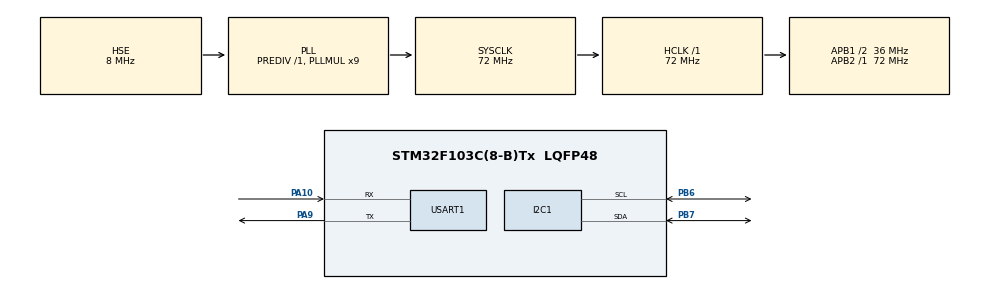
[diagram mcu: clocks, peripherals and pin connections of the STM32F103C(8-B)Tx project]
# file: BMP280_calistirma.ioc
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I2C1.NoStretchMode=I2C_NOSTRETCH_ENABLE
I2C1.OwnAddress=0x76
Mcu.Family=STM32F1
Mcu.Name=STM32F103C(8-B)Tx
Mcu.Package=LQFP48
NVIC.PriorityGroup=NVIC_PRIORITYGROUP_4
PA10.Mode=Asynchronous
PA10.Signal=USART1_RX
PA9.Mode=Asynchronous
PA9.Signal=USART1_TX
PB6.GPIO_Mode=GPIO_MODE_AF_OD
PB6.Mode=I2C
PB6.Signal=I2C1_SCL
PB7.Mode=I2C
PB7.Signal=I2C1_SDA
PD0-OSC_IN.Mode=HSE-External-Oscillator
PD0-OSC_IN.Signal=RCC_OSC_IN
PD1-OSC_OUT.Mode=HSE-External-Oscillator
PD1-OSC_OUT.Signal=RCC_OSC_OUT
ProjectManager.HeapSize=0x200
ProjectManager.StackSize=0x400
ProjectManager.TargetToolchain=STM32CubeIDE
RCC.AHBFreq_Value=72000000
RCC.APB1CLKDivider=RCC_HCLK_DIV2
RCC.APB1Freq_Value=36000000
RCC.APB1TimFreq_Value=72000000
RCC.APB2Freq_Value=72000000
RCC.APB2TimFreq_Value=72000000
RCC.HCLKFreq_Value=72000000
RCC.PLLMUL=RCC_PLL_MUL9
RCC.PLLSourceVirtual=RCC_PLLSOURCE_HSE
RCC.SYSCLKFreq_VALUE=72000000
RCC.SYSCLKSource=RCC_SYSCLKSOURCE_PLLCLK
RCC.USBFreq_Value=72000000
USART1.VirtualMode=VM_ASYNC
VP_SYS_VS_ND.Mode=No_Debug
board=custom

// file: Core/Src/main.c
/* USER CODE BEGIN Header */
/**
  ******************************************************************************
  * @file           : main.c
  * @brief          : Main program body
  ******************************************************************************
  * @attention
  *
  * Copyright (c) 2025 STMicroelectronics.
  * All rights reserved.
  *
  * This software is licensed under terms that can be found in the LICENSE file
  * in the root directory of this software component.
  * If no LICENSE file comes with this software, it is provided AS-IS.
  *
  ******************************************************************************
  */
/* USER CODE END Header */
#include "main.h"
#include "stm32f1xx_hal.h"
#include <stdint.h>
#include <math.h>
#include <stdio.h>
#include "bmp280.h"

/* USER CODE BEGIN PD */
#define BMP280_ADDR (0x76 << 1)  // BMP280 I2C adresi (SDO pini GND'ye bağlıysa)
#define BMP280_PRESS_MSB 0xF7   // Basınç verisi başlangıç adresi
/* USER CODE END PD */

I2C_HandleTypeDef hi2c1;
UART_HandleTypeDef huart1;

void SystemClock_Config(void);
static void MX_GPIO_Init(void);
static void MX_I2C1_Init(void);
static void MX_USART1_UART_Init(void);
/* USER CODE BEGIN PFP */
static void MX_GPIO_Init(void);
static void MX_I2C1_Init(void);
static void MX_USART1_UART_Init(void);

uint32_t BMP280_Read_Pressure();
float KalmanFilter(float measurement);
void Send_Pressure_UART(float pressure);

/* USER CODE END PFP */

/* USER CODE BEGIN 0 */

// Kalman filtre değişkenleri
float Q = 0.1;  // Proses gürültüsü kovaryansı
float R = 1.0;  // Ölçüm gürültüsü kovaryansı
float P = 1.0;  // Hata kovaryansı
float K = 0.0;  // Kalman kazancı
float X = 0.0;  // Tahmini değer

/* USER CODE END 0 */

int main(void)
{

  /* MCU Configuration--------------------------------------------------------*/

  /* Reset of all peripherals, Initializes the Flash interface and the Systick. */
  HAL_Init();

  /* Configure the system clock */
  SystemClock_Config();

  /* USER CODE BEGIN SysInit */
      MX_GPIO_Init();
      MX_I2C1_Init();
      MX_USART1_UART_Init();
  /* USER CODE END SysInit */

  /* Initialize all configured peripherals */
  MX_GPIO_Init();
  MX_I2C1_Init();
  MX_USART1_UART_Init();

  /* Infinite loop */
  /* USER CODE BEGIN WHILE */
  while (1)
  {
  uint32_t raw_pressure = BMP280_Read_Pressure(&hi2c1);
  float filtered_pressure = KalmanFilter((float)raw_pressure);
  Send_Pressure_UART( filtered_pressure);
  HAL_Delay(1000);  // 1 saniye bekle
    /* USER CODE END WHILE */

  }
}

void SystemClock_Config(void)
{
  RCC_OscInitTypeDef RCC_OscInitStruct = {0};
  RCC_ClkInitTypeDef RCC_ClkInitStruct = {0};

  /** Initializes the RCC Oscillators according to the specified parameters
  * in the RCC_OscInitTypeDef structure.
  */
  RCC_OscInitStruct.OscillatorType = RCC_OSCILLATORTYPE_HSE;
  RCC_OscInitStruct.HSEState = RCC_HSE_ON;
  RCC_OscInitStruct.HSEPredivValue = RCC_HSE_PREDIV_DIV1;
  RCC_OscInitStruct.HSIState = RCC_HSI_ON;
  RCC_OscInitStruct.PLL.PLLState = RCC_PLL_ON;
  RCC_OscInitStruct.PLL.PLLSource = RCC_PLLSOURCE_HSE;
  RCC_OscInitStruct.PLL.PLLMUL = RCC_PLL_MUL9;
  if (HAL_RCC_OscConfig(&RCC_OscInitStruct) != HAL_OK)
  {
    Error_Handler();
  }

  /** Initializes the CPU, AHB and APB buses clocks
  */
  RCC_ClkInitStruct.ClockType = RCC_CLOCKTYPE_HCLK|RCC_CLOCKTYPE_SYSCLK
                              |RCC_CLOCKTYPE_PCLK1|RCC_CLOCKTYPE_PCLK2;
  RCC_ClkInitStruct.SYSCLKSource = RCC_SYSCLKSOURCE_PLLCLK;
  RCC_ClkInitStruct.AHBCLKDivider = RCC_SYSCLK_DIV1;
  RCC_ClkInitStruct.APB1CLKDivider = RCC_HCLK_DIV2;
  RCC_ClkInitStruct.APB2CLKDivider = RCC_HCLK_DIV1;

  if (HAL_RCC_ClockConfig(&RCC_ClkInitStruct, FLASH_LATENCY_2) != HAL_OK)
  {
    Error_Handler();
  }
}

static void MX_I2C1_Init(void)
{

	 __HAL_RCC_I2C1_CLK_ENABLE();
	    hi2c1.Instance = I2C1;
	    hi2c1.Init.ClockSpeed = 100000;
	    hi2c1.Init.DutyCycle = I2C_DUTYCYCLE_2;
	    hi2c1.Init.OwnAddress1 = 0;
	    hi2c1.Init.AddressingMode = I2C_ADDRESSINGMODE_7BIT;
	    hi2c1.Init.DualAddressMode = I2C_DUALADDRESS_DISABLE;
	    hi2c1.Init.OwnAddress2 = 0;
	    hi2c1.Init.GeneralCallMode = I2C_GENERALCALL_DISABLE;
	    hi2c1.Init.NoStretchMode = I2C_NOSTRETCH_DISABLE;
	    HAL_I2C_Init(&hi2c1);
  if (HAL_I2C_Init(&hi2c1) != HAL_OK)
  {
    Error_Handler();
  }

}

static void MX_USART1_UART_Init(void)
{

	 __HAL_RCC_USART1_CLK_ENABLE();
	    huart1.Instance = USART1;
	    huart1.Init.BaudRate = 115200;
	    huart1.Init.WordLength = UART_WORDLENGTH_8B;
	    huart1.Init.StopBits = UART_STOPBITS_1;
	    huart1.Init.Parity = UART_PARITY_NONE;
	    huart1.Init.Mode = UART_MODE_TX_RX;
	    huart1.Init.HwFlowCtl = UART_HWCONTROL_NONE;
	    huart1.Init.OverSampling = UART_OVERSAMPLING_16;
	    HAL_UART_Init(&huart1);
  if (HAL_UART_Init(&huart1) != HAL_OK)
  {
    Error_Handler();
  }

}

static void MX_GPIO_Init(void)
{
/* USER CODE BEGIN MX_GPIO_Init_1 */
	__HAL_RCC_GPIOB_CLK_ENABLE();
	    __HAL_RCC_GPIOA_CLK_ENABLE();

	    GPIO_InitTypeDef GPIO_InitStruct = {0};

	    // I2C1 SCL ve SDA pinleri (PB6 ve PB7)
	    GPIO_InitStruct.Pin = GPIO_PIN_6 | GPIO_PIN_7;
	    GPIO_InitStruct.Mode = GPIO_MODE_AF_OD;
	    GPIO_InitStruct.Speed = GPIO_SPEED_FREQ_HIGH;
	    HAL_GPIO_Init(GPIOB, &GPIO_InitStruct);

	    // USART1 TX ve RX pinleri (PA9 ve PA10)
	    GPIO_InitStruct.Pin = GPIO_PIN_9 | GPIO_PIN_10;
	    GPIO_InitStruct.Mode = GPIO_MODE_AF_PP;
	    GPIO_InitStruct.Speed = GPIO_SPEED_FREQ_HIGH;
	    HAL_GPIO_Init(GPIOA, &GPIO_InitStruct);
/* USER CODE END MX_GPIO_Init_1 */

  /* GPIO Ports Clock Enable */
  __HAL_RCC_GPIOD_CLK_ENABLE();
  __HAL_RCC_GPIOA_CLK_ENABLE();
  __HAL_RCC_GPIOB_CLK_ENABLE();

}

void Error_Handler(void)
{
  __disable_irq();
  while (1)
  {
  }
}
